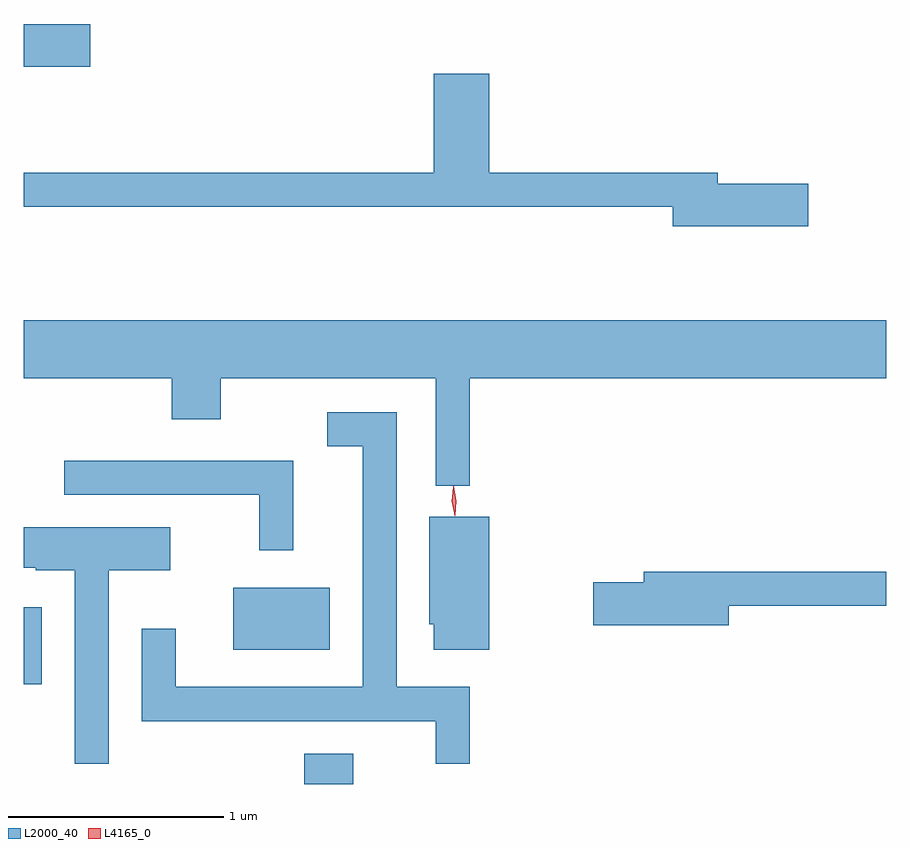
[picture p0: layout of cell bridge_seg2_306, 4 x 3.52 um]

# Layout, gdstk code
import gdstk
lib = gdstk.Library(unit=1e-6, precision=1e-09)
def R(c, l, rs):  # rectangles x0, y0, x1, y1
    for r in rs: c.add(gdstk.rectangle(r[:2], r[2:], *l))
def P(c, l, *ps):  # polygons
    for p in ps: c.add(gdstk.Polygon(p, *l))
L2000_40 = (2000, 40)
L4165_0 = (4165, 0)

bridge_seg2_306 = lib.new_cell('bridge_seg2_306')
R(bridge_seg2_306, L2000_40, [(429.636,1095.274,429.864,1095.414), (428.335,1095.736,428.419,1096.094), (429.306,1095.896,429.754,1096.184), (428.335,1098.601,428.644,1098.799)])
P(bridge_seg2_306, L2000_40, [(431.974,1098.059),(431.554,1098.059),(431.554,1098.109),(430.494,1098.109),(430.494,1098.569),(430.236,1098.569),(430.236,1098.109),(428.335,1098.109),(428.335,1097.951),(431.346,1097.951),(431.346,1097.861),(431.974,1097.861)],
  [(430.404,1097.156),(432.335,1097.156),(432.335,1097.424),(428.335,1097.424),(428.335,1097.156),(429.021,1097.156),(429.021,1096.966),(429.249,1096.966),(429.249,1097.156),(430.246,1097.156),(430.246,1096.658),(430.404,1096.658)],
  [(430.404,1095.724),(430.064,1095.724),(430.064,1096.999),(429.743,1096.999),(429.743,1096.841),(429.906,1096.841),(429.906,1095.724),(429.039,1095.724),(429.039,1095.993),(428.881,1095.993),(428.881,1095.566),(430.246,1095.566),(430.246,1095.368),(430.404,1095.368)],
  [(429.584,1096.774),(428.523,1096.774),(428.523,1096.616),(429.426,1096.616),(429.426,1096.358),(429.584,1096.358)],
  [(430.494,1096.514),(430.216,1096.514),(430.216,1096.016),(430.236,1096.016),(430.236,1095.896),(430.494,1095.896)],
  [(428.729,1096.266),(429.014,1096.266),(429.014,1096.464),(428.335,1096.464),(428.335,1096.276),(428.39,1096.276),(428.39,1096.266),(428.571,1096.266),(428.571,1095.368),(428.729,1095.368)],
  [(431.604,1096.101),(432.335,1096.101),(432.335,1096.259),(431.211,1096.259),(431.211,1096.209),(430.976,1096.209),(430.976,1096.011),(431.604,1096.011)])
P(bridge_seg2_306, L4165_0, [(430.334,1096.518),(430.322,1096.586),(430.328,1096.655),(430.328,1096.655),(430.329,1096.655),(430.341,1096.587),(430.336,1096.518),(430.335,1096.518)],
  [(430.333,1096.52),(430.333,1096.521),(430.321,1096.586),(430.328,1096.651),(430.328,1096.652),(430.329,1096.651),(430.341,1096.587),(430.334,1096.521)])

lib.write_gds('bridge_seg2_306.gds')
